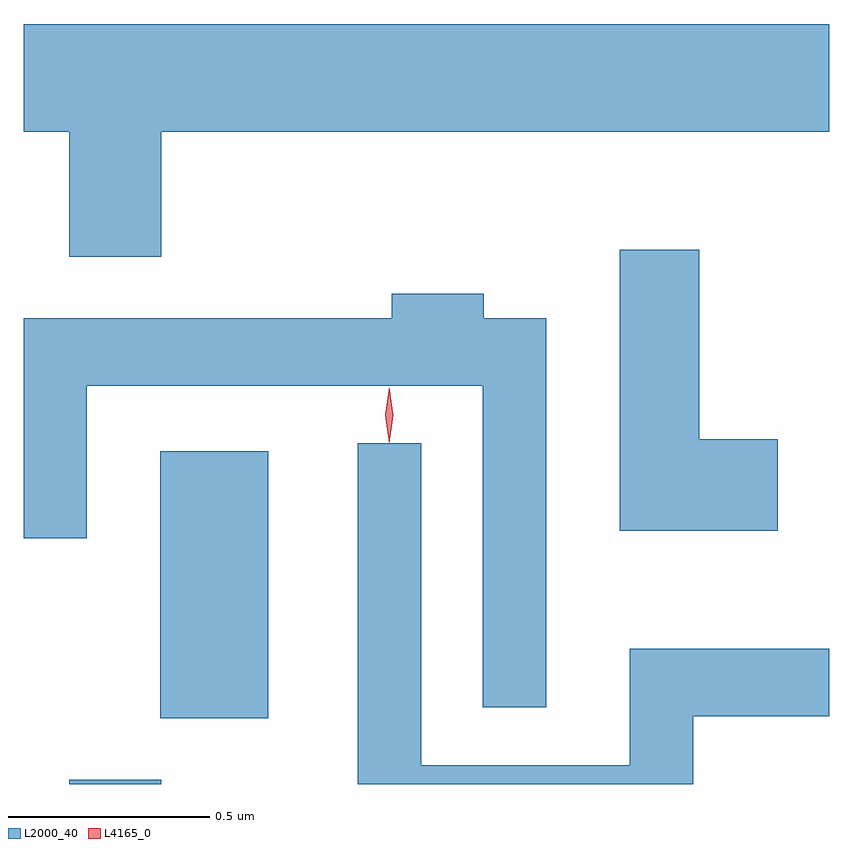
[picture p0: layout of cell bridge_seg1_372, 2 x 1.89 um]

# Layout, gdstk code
import gdstk
lib = gdstk.Library(unit=1e-6, precision=1e-09)
def R(c, l, rs):  # rectangles x0, y0, x1, y1
    for r in rs: c.add(gdstk.rectangle(r[:2], r[2:], *l))
def P(c, l, *ps):  # polygons
    for p in ps: c.add(gdstk.Polygon(p, *l))
L2000_40 = (2000, 40)
L4165_0 = (4165, 0)

bridge_seg1_372 = lib.new_cell('bridge_seg1_372')
R(bridge_seg1_372, L2000_40, [(935.801,875.758,936.029,875.769), (936.026,875.921,936.294,876.584)])
P(bridge_seg1_372, L2000_40, [(936.029,877.376),(937.687,877.376),(937.687,877.644),(935.687,877.644),(935.687,877.376),(935.801,877.376),(935.801,877.066),(936.029,877.066)],
  [(937.559,876.614),(937.364,876.614),(937.364,877.084),(937.166,877.084),(937.166,876.386),(937.559,876.386)],
  [(936.984,876.914),(936.829,876.914),(936.829,876.974),(936.601,876.974),(936.601,876.914),(935.687,876.914),(935.687,876.368),(935.844,876.368),(935.844,876.746),(936.826,876.746),(936.826,875.948),(936.984,875.948)],
  [(937.349,875.926),(937.687,875.926),(937.687,876.094),(937.191,876.094),(937.191,875.804),(936.674,875.804),(936.674,876.603),(936.516,876.603),(936.516,875.758),(937.349,875.758)])
P(bridge_seg1_372, L4165_0, [(936.595,876.607),(936.594,876.608),(936.585,876.674),(936.594,876.74),(936.595,876.74),(936.595,876.74),(936.605,876.674),(936.595,876.608)],
  [(936.594,876.604),(936.585,876.673),(936.594,876.742),(936.595,876.743),(936.595,876.742),(936.605,876.673),(936.595,876.604),(936.595,876.604)])

lib.write_gds('bridge_seg1_372.gds')
